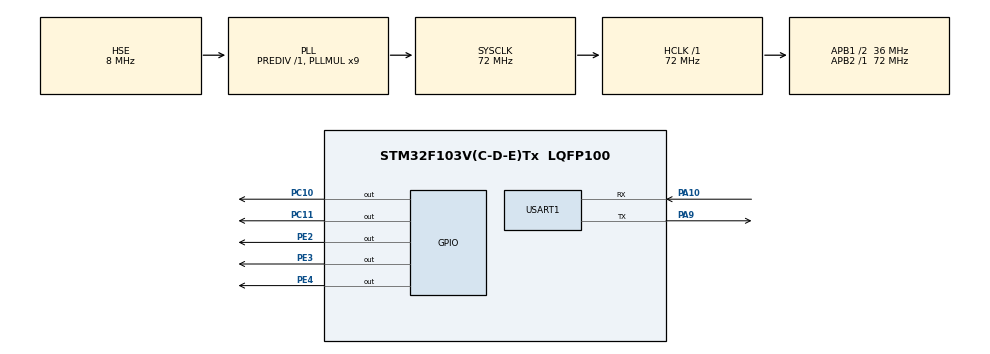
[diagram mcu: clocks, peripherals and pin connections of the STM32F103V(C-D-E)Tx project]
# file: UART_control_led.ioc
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Mcu.Family=STM32F1
Mcu.Name=STM32F103V(C-D-E)Tx
Mcu.Package=LQFP100
NVIC.PriorityGroup=NVIC_PRIORITYGROUP_4
NVIC.USART1_IRQn=true\:0\:0\:false\:false\:true\:true\:true
OSC_IN.Mode=HSE-External-Oscillator
OSC_IN.Signal=RCC_OSC_IN
OSC_OUT.Mode=HSE-External-Oscillator
OSC_OUT.Signal=RCC_OSC_OUT
PA10.Mode=Asynchronous
PA10.Signal=USART1_RX
PA9.Mode=Asynchronous
PA9.Signal=USART1_TX
PC10.GPIO_PuPd=GPIO_PULLUP
PC10.Signal=GPIO_Output
PC11.GPIO_PuPd=GPIO_PULLUP
PC11.Signal=GPIO_Output
PE2.GPIO_PuPd=GPIO_PULLUP
PE2.Signal=GPIO_Output
PE3.GPIO_PuPd=GPIO_PULLUP
PE3.Signal=GPIO_Output
PE4.GPIO_PuPd=GPIO_PULLUP
PE4.Signal=GPIO_Output
ProjectManager.HeapSize=0x200
ProjectManager.StackSize=0x400
ProjectManager.TargetToolchain=STM32CubeIDE
RCC.AHBFreq_Value=72000000
RCC.APB1CLKDivider=RCC_HCLK_DIV2
RCC.APB1Freq_Value=36000000
RCC.APB1TimFreq_Value=72000000
RCC.APB2Freq_Value=72000000
RCC.APB2TimFreq_Value=72000000
RCC.HCLKFreq_Value=72000000
RCC.PLLMUL=RCC_PLL_MUL9
RCC.PLLSourceVirtual=RCC_PLLSOURCE_HSE
RCC.SYSCLKFreq_VALUE=72000000
RCC.SYSCLKSource=RCC_SYSCLKSOURCE_PLLCLK
RCC.USBFreq_Value=72000000
USART1.VirtualMode=VM_ASYNC
VP_SYS_VS_ND.Mode=No_Debug
board=custom

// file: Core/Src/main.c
/* USER CODE BEGIN Header */
/**
  ******************************************************************************
  * @file           : main.c
  * @brief          : Main program body
  ******************************************************************************
  * @attention
  *
  * <h2><center>&copy; Copyright (c) 2021 STMicroelectronics.
  * All rights reserved.</center></h2>
  *
  * This software component is licensed by ST under BSD 3-Clause license,
  * the "License"; You may not use this file except in compliance with the
  * License. You may obtain a copy of the License at:
  *                        opensource.org/licenses/BSD-3-Clause
  *
  ******************************************************************************
  */
/* USER CODE END Header */
#include "main.h"
#include "usart.h"
#include "gpio.h"
#include <stdio.h>
#include <string.h>

// 전역변수로 선언
uint8_t Rx_Data[2];
uint8_t Rx_Buffer[20];
uint8_t USART1_len=0;
uint8_t USART1_rx_end=0;

void HAL_UART_RxCpltCallback(UART_HandleTypeDef *huart)
{
  static uint8_t usart1_chk=0;
  if(huart -> Instance == USART1)
  {
      USART1_rx_end=0;
      switch(usart1_chk)
      {
          case 0:
            if(Rx_Data[0]==0x02)
            {
            	Rx_Buffer[USART1_len]=Rx_Data[0];
                USART1_len++;
                usart1_chk=1;
            }
            else usart1_chk=0;
            break;
          case 1:
            Rx_Buffer[USART1_len]=Rx_Data[0];
            USART1_len++;

            if(Rx_Data[0]==0x03)
            {
              USART1_rx_end=1;
              usart1_chk=0;
            }
            break;
          default:
            usart1_chk=0;
            break;
      }
      HAL_UART_Receive_IT(&huart1, Rx_Data, 1);
  }
}

void SystemClock_Config(void);

/* USER CODE BEGIN 0 */
int write(int file, unsigned char* p, int len)
{
   HAL_UART_Transmit(&huart1, p, len, 10);
   return len;
}
#ifdef __GNUC__
#define PUTCHAR_PROTOTYPE int __io_putchar(int ch)
#else
#define PUTCHAR_PROTOTYPE int fputc(int ch, FILE *f)  //for printf
#endif
PUTCHAR_PROTOTYPE
{

  HAL_UART_Transmit(&huart1, (uint8_t *)&ch, 1, 0xFFFF);
  return ch;
}
/* USER CODE END 0 */

int main(void)
{

  /* MCU Configuration--------------------------------------------------------*/

  /* Reset of all peripherals, Initializes the Flash interface and the Systick. */
  HAL_Init();

  /* Configure the system clock */
  SystemClock_Config();

  /* Initialize all configured peripherals */
  MX_GPIO_Init();
  MX_USART1_UART_Init();
  /* USER CODE BEGIN 2 */

  setvbuf(stdout, NULL, _IONBF, 0);

  //main 함수 while() 문 위에 수신 인터럽트 enable 설정
  HAL_UART_Receive_IT(&huart1, Rx_Data, 1);       // 수신 interrupt Enable 설정
  printf("Program start...  ");

  /* USER CODE END 2 */

  /* Infinite loop */
  /* USER CODE BEGIN WHILE */
  while (1)
  {
	  // main함수 while문 내에서 주기적으로 USART1_rx_end flag 검사
	  if(USART1_rx_end)
	  {
		  // 입력 문자열 비교
		  if(!strcmp(Rx_Buffer, "\x02LED2 ON\x03")) HAL_GPIO_WritePin(GPIOE, GPIO_PIN_2 , GPIO_PIN_SET);
		  else if(!strcmp(Rx_Buffer, "\x02LED2 OFF\x03")) HAL_GPIO_WritePin(GPIOE, GPIO_PIN_2 , GPIO_PIN_RESET);
		  else if(!strcmp(Rx_Buffer, "\x02LED3 ON\x03")) HAL_GPIO_WritePin(GPIOE, GPIO_PIN_3 , GPIO_PIN_SET);
		  else if(!strcmp(Rx_Buffer, "\x02LED3 OFF\x03")) HAL_GPIO_WritePin(GPIOE, GPIO_PIN_3 , GPIO_PIN_RESET);
		  else if(!strcmp(Rx_Buffer, "\x02LED4 ON\x03")) HAL_GPIO_WritePin(GPIOE, GPIO_PIN_4 , GPIO_PIN_SET);
		  else if(!strcmp(Rx_Buffer, "\x02LED4 OFF\x03")) HAL_GPIO_WritePin(GPIOE, GPIO_PIN_4 , GPIO_PIN_RESET);

		  // 받은 데이터, 전송
	      HAL_UART_Transmit(&huart1, Rx_Buffer, USART1_len, 2);
	      USART1_len=0;
	      USART1_rx_end=0;

	      memset(Rx_Buffer, 0, 20); // 초기화
	  }
    /* USER CODE END WHILE */

  }
}

void SystemClock_Config(void)
{
  RCC_OscInitTypeDef RCC_OscInitStruct = {0};
  RCC_ClkInitTypeDef RCC_ClkInitStruct = {0};

  /** Initializes the RCC Oscillators according to the specified parameters
  * in the RCC_OscInitTypeDef structure.
  */
  RCC_OscInitStruct.OscillatorType = RCC_OSCILLATORTYPE_HSE;
  RCC_OscInitStruct.HSEState = RCC_HSE_ON;
  RCC_OscInitStruct.HSEPredivValue = RCC_HSE_PREDIV_DIV1;
  RCC_OscInitStruct.HSIState = RCC_HSI_ON;
  RCC_OscInitStruct.PLL.PLLState = RCC_PLL_ON;
  RCC_OscInitStruct.PLL.PLLSource = RCC_PLLSOURCE_HSE;
  RCC_OscInitStruct.PLL.PLLMUL = RCC_PLL_MUL9;
  if (HAL_RCC_OscConfig(&RCC_OscInitStruct) != HAL_OK)
  {
    Error_Handler();
  }
  /** Initializes the CPU, AHB and APB buses clocks
  */
  RCC_ClkInitStruct.ClockType = RCC_CLOCKTYPE_HCLK|RCC_CLOCKTYPE_SYSCLK
                              |RCC_CLOCKTYPE_PCLK1|RCC_CLOCKTYPE_PCLK2;
  RCC_ClkInitStruct.SYSCLKSource = RCC_SYSCLKSOURCE_PLLCLK;
  RCC_ClkInitStruct.AHBCLKDivider = RCC_SYSCLK_DIV1;
  RCC_ClkInitStruct.APB1CLKDivider = RCC_HCLK_DIV2;
  RCC_ClkInitStruct.APB2CLKDivider = RCC_HCLK_DIV1;

  if (HAL_RCC_ClockConfig(&RCC_ClkInitStruct, FLASH_LATENCY_2) != HAL_OK)
  {
    Error_Handler();
  }
}

void Error_Handler(void)
{
  __disable_irq();
  while (1)
  {
  }
}

/************************ (C) COPYRIGHT STMicroelectronics *****END OF FILE****/
